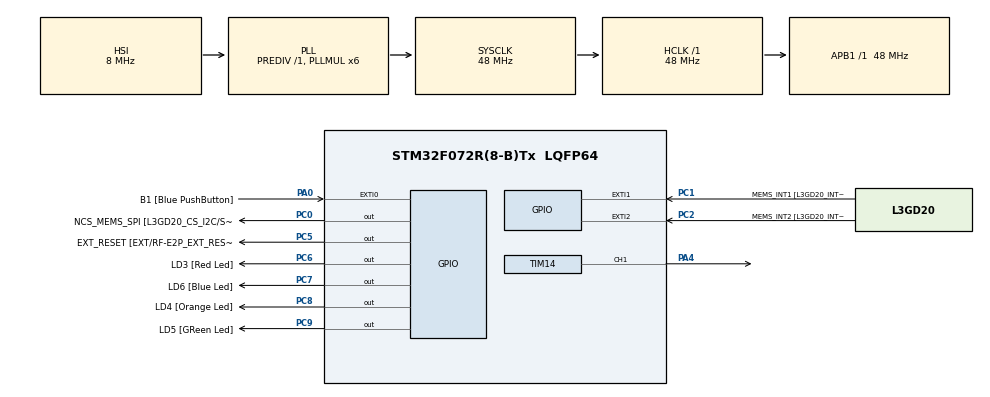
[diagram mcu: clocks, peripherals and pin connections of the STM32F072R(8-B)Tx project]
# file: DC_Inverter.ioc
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Mcu.Family=STM32F0
Mcu.Name=STM32F072R(8-B)Tx
Mcu.Package=LQFP64
NVIC.EXTI0_1_IRQn=true\:0\:0\:false\:false\:true\:true\:true
NVIC.TIM14_IRQn=true\:0\:0\:false\:false\:true\:true\:true
PA0.GPIO_Label=B1 [Blue PushButton]
PA0.GPIO_ModeDefaultEXTI=GPIO_MODE_IT_RISING
PA0.Signal=GPXTI0
PA11.GPIO_Label=USBF4_DM
PA11.Signal=USB_DM
PA12.GPIO_Label=USBF4_DP
PA12.Signal=USB_DP
PA13.GPIO_Label=SWDIO
PA13.Signal=SYS_SWDIO
PA14.GPIO_Label=SWCLK
PA14.Signal=SYS_SWCLK
PA2.Signal=TSC_G1_IO3
PA3.Signal=TSC_G1_IO4
PA4.Signal=S_TIM14_CH1
PA6.Signal=TSC_G2_IO3
PA7.Signal=TSC_G2_IO4
PB0.Signal=TSC_G3_IO2
PB1.Signal=TSC_G3_IO3
PB10.GPIO_Label=I2C2_SCL[EXT/RF-E2P_SCL]
PB10.Signal=I2C2_SCL
PB11.GPIO_Label=I2C2_SDA[EXT/RF-E2P_SDA]
PB11.Signal=I2C2_SDA
PB13.GPIO_Label=SPI2_SCK [L3GD20_SCL/SPC]
PB13.Signal=SPI2_SCK
PB14.GPIO_Label=SPI2_MISO [L3GD20_SDO]
PB14.Signal=SPI2_MISO
PB15.GPIO_Label=SPI2_MOSI [L3GD20_SDA/SDI]
PB15.Signal=SPI2_MOSI
PC0.GPIO_Label=NCS_MEMS_SPI [L3GD20_CS_I2C/SPI]
PC0.Signal=GPIO_Output
PC1.GPIO_Label=MEMS_INT1 [L3GD20_INT1]
PC1.GPIO_ModeDefaultEXTI=GPIO_MODE_EVT_RISING
PC1.Signal=GPXTI1
PC2.GPIO_Label=MEMS_INT2 [L3GD20_INT2]
PC2.GPIO_ModeDefaultEXTI=GPIO_MODE_EVT_RISING
PC2.Signal=GPXTI2
PC5.GPIO_Label=EXT_RESET [EXT/RF-E2P_EXT_RESET]
PC5.Signal=GPIO_Output
PC6.GPIO_Label=LD3 [Red Led]
PC6.Signal=GPIO_Output
PC7.GPIO_Label=LD6 [Blue Led]
PC7.Signal=GPIO_Output
PC8.GPIO_Label=LD4 [Orange Led]
PC8.Signal=GPIO_Output
PC9.GPIO_Label=LD5 [GReen Led]
PC9.Signal=GPIO_Output
ProjectManager.HeapSize=0x200
ProjectManager.StackSize=0x400
ProjectManager.TargetToolchain=STM32CubeIDE
RCC.AHBFreq_Value=48000000
RCC.APB1Freq_Value=48000000
RCC.APB1TimFreq_Value=48000000
RCC.HCLKFreq_Value=48000000
RCC.PLLMUL=RCC_PLL_MUL6
RCC.SYSCLKFreq_VALUE=48000000
RCC.SYSCLKSource=RCC_SYSCLKSOURCE_PLLCLK
SH.S_TIM14_CH1.0=TIM14_CH1,PWM Generation1 CH1
TIM14.AutoReloadPreload=TIM_AUTORELOAD_PRELOAD_ENABLE
TIM14.Channel=TIM_CHANNEL_1
TIM14.OCMode_PWM=TIM_OCMODE_PWM1
TIM14.Period=4800 - 1
TIM14.Prescaler=0
TIM14.Pulse=2400 - 1
VP_TIM14_VS_ClockSourceINT.Mode=Enable_Timer
board=STM32F072B-DISCO

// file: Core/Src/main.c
/* USER CODE BEGIN Header */
/**
  ******************************************************************************
  * @file           : main.c
  * @brief          : Main program body
  ******************************************************************************
  * @attention
  *
  * <h2><center>&copy; Copyright (c) 2020 STMicroelectronics.
  * All rights reserved.</center></h2>
  *
  * This software component is licensed by ST under BSD 3-Clause license,
  * the "License"; You may not use this file except in compliance with the
  * License. You may obtain a copy of the License at:
  *                        opensource.org/licenses/BSD-3-Clause
  *
  ******************************************************************************
  */
/* USER CODE END Header */
#include "main.h"
#include "tim.h"
#include "gpio.h"

/* USER CODE BEGIN Includes */
#include "math.h"
#include "string.h"
#include "stdbool.h"
/* USER CODE END Includes */

/*!
 * System status
 */

/* USER CODE BEGIN PTD */
typedef enum SystemStatus
{
	STATE_READY = 0,
	STATE_CHANGE,
	STATE_UPDATED,
}SystemStatus;
/* USER CODE END PTD */

/* USER CODE BEGIN PD */
#define F_PWM 		10000			//Tần số xung nhỏ
#define PWM_RELOAD 	4800			//Giá trị nạp timer (Max)
#define PI			3.141592
#define MAX_SIZE	2000
#define	START_FREQ	10				//Giá trị tần số mặc định
#define BUTTON_STEP	5				//Giá trị thay đổi mỗi lần ấn nút nhấn
/* USER CODE END PD */

/* USER CODE BEGIN PV */
SystemStatus g_pwmstate=STATE_CHANGE;		//Trạng thái PWM (Thay đổi, Tính toán, cập nhật)
uint16_t g_freqspwm=START_FREQ;				//Tần số xung lớn
uint16_t g_numpul=0;						//Số xung nhỏ
uint16_t g_runningtable[MAX_SIZE]={0};		//Bảng chứa giá trị chạy
uint16_t g_caltable[MAX_SIZE]={0};			//Bảng chứa giá trị tính toán khi thay đổi
uint16_t g_countb1press=0;
float fl_radianperstep=0.00;				//Số radian (pi <=> 180 độ) mỗi xung
volatile bool g_b1pressed = false;

/* USER CODE END PV */

void SystemClock_Config(void);
/* USER CODE BEGIN PFP */
void Sys_Init(void);
void UpdateSineTable(void);
void ButtonsHandler(void);
void SPWMValueHandler(void);
/* USER CODE END PFP */

int main(void)
{

  /* MCU Configuration--------------------------------------------------------*/

  /* Reset of all peripherals, Initializes the Flash interface and the Systick. */
  HAL_Init();

  /* Configure the system clock */
  SystemClock_Config();

  /* Initialize all configured peripherals */
  MX_GPIO_Init();
  MX_TIM14_Init();
  /* USER CODE BEGIN 2 */
  Sys_Init();
  /* USER CODE END 2 */

  /* Infinite loop */
  while (1)
  {

    /* USER CODE BEGIN 3 */
	SPWMValueHandler();
	ButtonsHandler();

  }
  /* USER CODE END 3 */
}

void SystemClock_Config(void)
{
  RCC_OscInitTypeDef RCC_OscInitStruct = {0};
  RCC_ClkInitTypeDef RCC_ClkInitStruct = {0};

  /** Initializes the RCC Oscillators according to the specified parameters
  * in the RCC_OscInitTypeDef structure.
  */
  RCC_OscInitStruct.OscillatorType = RCC_OSCILLATORTYPE_HSI;
  RCC_OscInitStruct.HSIState = RCC_HSI_ON;
  RCC_OscInitStruct.HSICalibrationValue = RCC_HSICALIBRATION_DEFAULT;
  RCC_OscInitStruct.PLL.PLLState = RCC_PLL_ON;
  RCC_OscInitStruct.PLL.PLLSource = RCC_PLLSOURCE_HSI;
  RCC_OscInitStruct.PLL.PLLMUL = RCC_PLL_MUL6;
  RCC_OscInitStruct.PLL.PREDIV = RCC_PREDIV_DIV1;
  if (HAL_RCC_OscConfig(&RCC_OscInitStruct) != HAL_OK)
  {
    Error_Handler();
  }
  /** Initializes the CPU, AHB and APB buses clocks
  */
  RCC_ClkInitStruct.ClockType = RCC_CLOCKTYPE_HCLK|RCC_CLOCKTYPE_SYSCLK
                              |RCC_CLOCKTYPE_PCLK1;
  RCC_ClkInitStruct.SYSCLKSource = RCC_SYSCLKSOURCE_PLLCLK;
  RCC_ClkInitStruct.AHBCLKDivider = RCC_SYSCLK_DIV1;
  RCC_ClkInitStruct.APB1CLKDivider = RCC_HCLK_DIV1;

  if (HAL_RCC_ClockConfig(&RCC_ClkInitStruct, FLASH_LATENCY_1) != HAL_OK)
  {
    Error_Handler();
  }
}

/* USER CODE BEGIN 4 */
/* Khởi tạo Timer
 *
 */
void Sys_Init(void)
{
	HAL_TIM_PWM_Start(&htim14, TIM_CHANNEL_1); 	//Start PWM
	HAL_TIM_Base_Start_IT(&htim14);				//Start timer interrupt overflow
}

/*
 * Xử lý tần số PWM
 */
void SPWMValueHandler(void)
{
	switch (g_pwmstate)
	{
		case STATE_CHANGE:	//Giá trị tần số thay đổi-> Tính lại số xung và bảng giá trị
			g_numpul = F_PWM / g_freqspwm;
			fl_radianperstep = PI / (g_numpul/2);
			UpdateSineTable();
			g_pwmstate = STATE_UPDATED;
			break;

		case STATE_UPDATED:	//Tính toán xong, copy giá trị từ bảng phụ -> bảng chạy
			memset(g_runningtable, 0, (sizeof(g_runningtable[0])*MAX_SIZE));
			memcpy(g_runningtable, g_caltable, sizeof(g_runningtable[0])*(g_numpul/2) );
			g_pwmstate = STATE_READY;
			break;

		default:
			break;
	}
}

/*
 *  Copy giá trị bảng phụ -> Bảng chạy
 */
void UpdateSineTable(void)
{
	memset(g_caltable, 0, (sizeof(g_caltable[0])*MAX_SIZE));
	for (int ui16index = 0; ui16index < g_numpul/2; ++ui16index)
	{
		g_caltable[ui16index] = (uint16_t) (PWM_RELOAD * sinf(fl_radianperstep * ui16index));
	}
}

/*
 * Xử lý nút nhấn
 */
void ButtonsHandler(void)
{
	if (g_b1pressed == true)
	{
		if(HAL_GPIO_ReadPin(B1_GPIO_Port, B1_Pin) == GPIO_PIN_RESET) //Release
		{
			if(g_countb1press <100)
			{

			}
			else
			{
				g_freqspwm += BUTTON_STEP;
				g_pwmstate = STATE_CHANGE;
			}
			g_b1pressed = false;
			g_countb1press = 0;
		}
	}

}

void HAL_GPIO_EXTI_Callback(uint16_t GPIO_Pin)
{
	if (GPIO_Pin == B1_Pin)
	{
		g_b1pressed = true;
	}
}

void HAL_TIM_PeriodElapsedCallback(TIM_HandleTypeDef *htim)
{
	UNUSED(htim);
	static uint16_t ui16count=0;
	uint16_t ui16reload = 0;
	if(ui16count < (g_numpul/2) )
	{
		ui16reload = g_runningtable[ui16count];
		__HAL_TIM_SET_COMPARE(&htim14, TIM_CHANNEL_1, ui16reload );
	}
	else if (ui16count < g_numpul)
	{
		__HAL_TIM_SET_COMPARE(&htim14, TIM_CHANNEL_1, 0);
	}
	else
	{
		ui16count = 0;
	}
	ui16count++;

}

/* USER CODE END 4 */

void Error_Handler(void)
{
}

/************************ (C) COPYRIGHT STMicroelectronics *****END OF FILE****/
